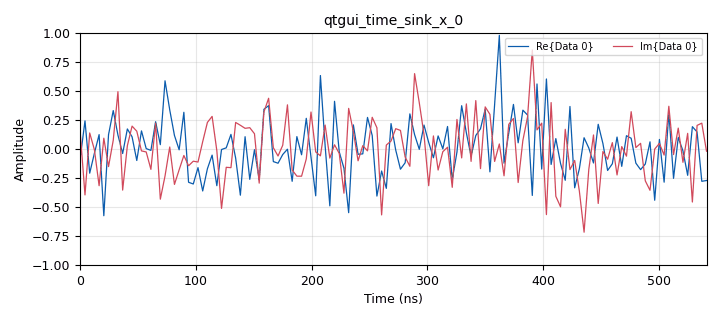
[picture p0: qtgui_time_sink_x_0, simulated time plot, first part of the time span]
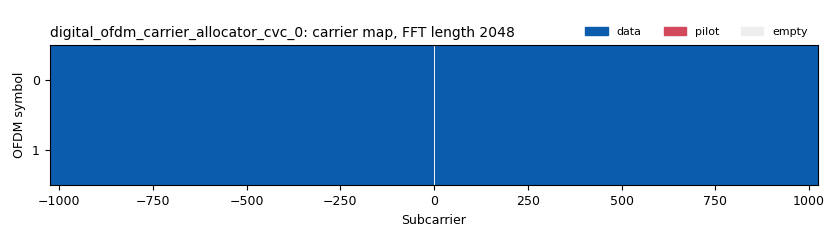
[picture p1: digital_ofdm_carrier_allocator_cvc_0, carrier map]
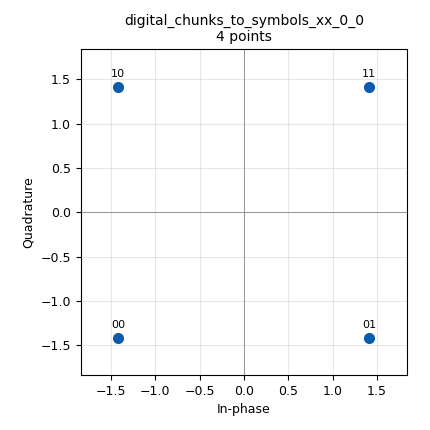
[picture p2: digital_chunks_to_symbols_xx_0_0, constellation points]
options:
  parameters:
    category: Custom
    description: USRP OFDM radar zero-Doppler range profile (full 0~R_max). RX packet_len tags via echotimer; range spectrum via range_profile_plot (PyQtGraph). Stop via GUI (not kill -9) so file_meta segments flush completely.
    generate_options: qt_gui
    hier_block_src_path: .:..
    id: usrp_ofdm_echotimer_dd
    output_language: python
  states: {}

blocks:
- name: fft_len
  id: variable
  parameters:
    value: '2048'
  states: {}
- name: subcarrier_spacing
  id: variable
  parameters:
    value: 120e3
  states: {}
- name: zeropadding_fac
  id: variable
  parameters:
    value: '2'
  states: {}
- name: samp_rate
  id: variable
  parameters:
    value: int(fft_len * subcarrier_spacing)
  states: {}
- name: R_max
  id: variable
  parameters:
    comment: 最大不模糊距离 (m)，R = c/(2·BW)·N_fft
    value: 3e8/2/samp_rate*fft_len
  states: {}
- name: range_bin_step
  id: variable
  parameters:
    comment: 距离谱模轴步进 (m/bin)；GRC 显示 305.176m = 0.305 m
    value: 3e8/(2*int(fft_len*subcarrier_spacing)*zeropadding_fac)
  states: {}
- name: RX_gain
  id: variable_qtgui_range
  parameters:
    label: RX Gain
    start: '0'
    step: '1'
    stop: '50'
    value: '30'
  states: {}
- name: TX_gain
  id: variable_qtgui_range
  parameters:
    label: TX Gain
    start: '0'
    step: '1'
    stop: '50'
    value: '30'
  states: {}
- name: factor
  id: variable_qtgui_range
  parameters:
    start: '0'
    step: '0.001'
    stop: '1'
    value: '0.004'
  states: {}
- name: frame_rate_hz
  id: variable
  parameters:
    comment: CPI range-profile frame rate written into file_meta header
    value: samp_rate / (transpose_len * (fft_len + fft_len // 4))
  states: {}
- name: freq
  id: variable
  parameters:
    comment: 载频 (Hz)；须与 v_max 公式一致，否则速度估计会偏
    value: 6.0e9
  states: {}
- name: length_tag_key
  id: variable
  parameters:
    value: '"packet_len"'
  states: {}
- name: min_out_buf_val
  id: variable
  parameters:
    comment: Must cover one CPI in time samples for SIC chain + CP remover
    value: int(2*transpose_len*(fft_len+fft_len/4))
  states: {}
- name: music_enable
  id: variable_qtgui_check_box
  parameters:
    comment: Enable 1D range MUSIC super-resolution on CPI complex range profile
    'false': 'False'
    gui_hint: 2,4,1,1
    label: MUSIC Enable
    'true': 'True'
    type: bool
    value: 'True'
  states: {}
- name: music_num_sources
  id: variable_qtgui_range
  parameters:
    comment: Number of range targets for 1D MUSIC
    label: MUSIC Num Sources
    start: '1'
    step: '1'
    stop: '5'
    value: '1'
  states: {}
- name: n_carriers
  id: variable
  parameters:
    comment: occupied subcarriers (full band minus DC); matches gr_setup.resolve_gr_carrier_tuples
    value: fft_len - 2
  states: {}
- name: num_delay_samp
  id: variable_qtgui_range
  parameters:
    comment: Recalibrate after fft_len/rate change; align loopback peak to 0 m
    label: Number of delayed samples
    start: '0'
    step: '1'
    stop: packet_len
    value: '278'
  states: {}
- name: occupied_carriers
  id: variable
  parameters:
    value: list((list(range(-n_carriers//2, 0)) + list(range(1, n_carriers//2 + 1)),))
  states: {}
- name: packet_len
  id: variable
  parameters:
    comment: QPSK bytes per burst; derived from CPI symbol count
    value: transpose_len * n_carriers // 4
  states: {}
- name: payload_mod
  id: variable
  parameters:
    value: digital.constellation_qpsk()
  states: {}
- name: qpsk_symbols_per_packet
  id: variable
  parameters:
    comment: QPSK complex symbols per burst after repack_bits
    value: transpose_len * n_carriers
  states: {}
- name: range_roi
  id: variable
  parameters:
    comment: ROI display range (min_m, max_m) for range profile GUI
    value: (0.0, 30.0)
  states: {}
- name: record_enable
  id: variable_qtgui_check_box
  parameters:
    comment: Set True to record linear-power range profiles to disk
    'false': 'False'
    gui_hint: 1,4,1,1
    label: Record Enable
    'true': 'True'
    type: bool
    value: 'False'
  states: {}
- name: record_file_path
  id: variable
  parameters:
    comment: Fixed absolute path shared with range_profile_playback.grc
    value: '"/home/caict/Desktop/isac/gnuradio/tests/data_collection/usrp_ofdm_echotimer_dd_data_collection_test/dataset/run_001/range_profiles"'
  states: {}
- name: record_output_index
  id: variable
  parameters:
    comment: Selector output; 0=file_sink, 1=null_sink
    value: 0 if record_enable else 1
  states: {}
- name: sic_enable
  id: variable_qtgui_check_box
  parameters:
    comment: Enable fixed-FIR self-interference cancellation on RX path
    'false': 'False'
    gui_hint: 1,6,1,1
    label: SIC Enable
    'true': 'True'
    type: bool
    value: 'True'
  states: {}
- name: sic_template_path
  id: variable
  parameters:
    comment: Divide-domain template from estimate_sic_template.py
    value: '"/home/caict/Desktop/isac/gnuradio/tests/data_collection/sic_tap_calibration/dataset/run_001/sic_template.npy"'
  states: {}
- name: sic_template_vlen
  id: variable
  parameters:
    comment: Template length (fft_len * zeropadding_fac)
    value: int(fft_len * zeropadding_fac)
  states: {}
- name: transpose_len
  id: variable
  parameters:
    comment: CPI OFDM symbols per burst; 4 avoids qpsk>8192 sched limit at fft_len=2048
    value: '2'
  states: {}
- name: uhd_dev_args
  id: variable
  parameters:
    comment: 'X410 349B642; QSFP 10.2; external 10MHz+PPS: clock/time=external in args and Echotimer'
    value: '"type=x4xx,serial=349B642,mgmt_addr=192.168.1.100,addr=192.168.10.2,clock_source=external,time_source=external"'
  states: {}
- name: wait_to_start
  id: variable
  parameters:
    value: '0.03'
  states: {}
- name: analog_random_source_x_0
  id: analog_random_source_x
  parameters:
    max: '255'
    min: '0'
    num_samps: packet_len*8
    repeat: 'True'
    type: byte
  states: {}
- name: blocks_complex_to_mag_squared_0
  id: blocks_complex_to_mag_squared
  parameters:
    vlen: fft_len*zeropadding_fac
  states: {}
- name: blocks_file_sink_0
  id: blocks_file_sink
  parameters:
    comment: Record CPI coherently-integrated complex range profiles
    file: record_file_path
    type: complex
    vlen: fft_len*zeropadding_fac
  states: {}
- name: blocks_integrate_xx_0
  id: blocks_integrate_xx
  parameters:
    comment: Non-coherent sum over CPI symbols (decim=transpose_len)
    decim: transpose_len
    type: float
    vlen: fft_len*zeropadding_fac
  states: {}
- name: blocks_integrate_xx_0_cx
  id: blocks_integrate_xx
  parameters:
    comment: Coherent sum over CPI symbols for complex range-profile recording
    decim: transpose_len
    type: complex
    vlen: fft_len*zeropadding_fac
  states: {}
- name: blocks_multiply_const_vxx_0
  id: blocks_multiply_const_vxx
  parameters:
    const: factor
    minoutbuf: int(2*transpose_len*(fft_len+fft_len/4))
    type: complex
  states: {}
- name: blocks_nlog10_ff_0
  id: blocks_nlog10_ff
  parameters:
    k: '0'
    n: '10'
    vlen: fft_len*zeropadding_fac
  states: {}
- name: blocks_null_sink_rec_0
  id: blocks_null_sink
  parameters:
    comment: Discard complex integrate stream when recording disabled
    type: complex
    vlen: fft_len*zeropadding_fac
  states: {}
- name: blocks_repack_bits_bb_0
  id: blocks_repack_bits_bb
  parameters:
    endianness: gr.GR_LSB_FIRST
    k: '8'
    l: payload_mod.bits_per_symbol()
    len_tag_key: length_tag_key
    minoutbuf: 2*qpsk_symbols_per_packet
  states: {}
- name: blocks_selector_0
  id: blocks_selector
  parameters:
    comment: Route coherently-integrated complex range profile to file sink or null sink
    enabled: 'True'
    input_index: '0'
    num_inputs: '1'
    num_outputs: '2'
    output_index: record_output_index
    showports: 'False'
    type: complex
    vlen: fft_len*zeropadding_fac
  states: {}
- name: blocks_stream_to_tagged_stream_0
  id: blocks_stream_to_tagged_stream
  parameters:
    len_tag_key: length_tag_key
    minoutbuf: 2*qpsk_symbols_per_packet
    packet_len: packet_len
    type: byte
  states: {}
- name: blocks_tagged_stream_align_0
  id: blocks_tagged_stream_align
  parameters:
    comment: Buffer full CPI packets for CP remover (>8192 samples at fft_len=2048)
    lengthtagname: length_tag_key
    minoutbuf: min_out_buf_val
    type: complex
  states: {}
- name: digital_chunks_to_symbols_xx_0_0
  id: digital_chunks_to_symbols_xx
  parameters:
    dimension: '1'
    in_type: byte
    minoutbuf: 2*qpsk_symbols_per_packet
    out_type: complex
    symbol_table: payload_mod.points()
  states: {}
- name: digital_ofdm_carrier_allocator_cvc_0
  id: digital_ofdm_carrier_allocator_cvc
  parameters:
    fft_len: fft_len
    len_tag_key: length_tag_key
    minoutbuf: 4*transpose_len
    occupied_carriers: occupied_carriers
    output_is_shifted: 'True'
    pilot_carriers: ((),)
    pilot_symbols: ((),)
    sync_words: ()
  states: {}
- name: digital_ofdm_cyclic_prefixer_0
  id: digital_ofdm_cyclic_prefixer
  parameters:
    cp_len: fft_len//4
    input_size: fft_len
    minoutbuf: int(2*transpose_len*(fft_len+fft_len/4))
    tagname: length_tag_key
  states: {}
- name: fft_vxx_0
  id: fft_vxx
  parameters:
    fft_size: fft_len
    forward: 'False'
    minoutbuf: 2*transpose_len
    shift: 'True'
    type: complex
    window: ()
  states: {}
- name: fft_vxx_0_0
  id: fft_vxx
  parameters:
    fft_size: fft_len
    forward: 'True'
    minoutbuf: 2*transpose_len
    shift: 'True'
    type: complex
    window: ()
  states: {}
- name: fft_vxx_0_1
  id: fft_vxx
  parameters:
    fft_size: fft_len*zeropadding_fac
    forward: 'True'
    shift: 'False'
    type: complex
    window: window.blackmanharris(fft_len*zeropadding_fac)
  states: {}
- name: qtgui_freq_sink_x_0
  id: qtgui_freq_sink_x
  parameters:
    bw: samp_rate
    fc: '0'
    fftsize: fft_len
    type: complex
  states: {}
- name: qtgui_time_sink_x_0
  id: qtgui_time_sink_x
  parameters:
    size: fft_len + fft_len//4
    srate: samp_rate
    type: complex
  states: {}
- name: radar_ofdm_cyclic_prefix_remover_cvc_0
  id: radar_ofdm_cyclic_prefix_remover_cvc
  parameters:
    cp_len: fft_len//4
    fft_len: fft_len
    len_key: '"packet_len"'
    minoutbuf: 2*transpose_len
  states: {}
- name: radar_ofdm_divide_vcvc_0
  id: radar_ofdm_divide_vcvc
  parameters:
    discarded_carriers: ()
    len_key: '"packet_len"'
    minoutbuf: 2*transpose_len
    num_sync_words: '0'
    vlen_in: fft_len
    vlen_out: (fft_len)*zeropadding_fac
  states: {}
- name: radar_usrp_echotimer_cc_0
  id: radar_usrp_echotimer_cc
  parameters:
    antenna_rx: '''RX1'''
    antenna_tx: '''TX/RX'''
    args_rx: uhd_dev_args
    args_tx: uhd_dev_args
    center_freq: freq
    channel_rx: '0'
    channel_tx: '0'
    clock_source_rx: '''external'''
    clock_source_tx: '''external'''
    comment: external 10MHz REF IN + PPS IN; must match device args
    gain_rx: RX_gain
    gain_tx: TX_gain
    minoutbuf: min_out_buf_val
    num_delay_samps: int(num_delay_samp)
    samp_rate: int(samp_rate)
    time_source_rx: '''external'''
    time_source_tx: '''external'''
    timeout_rx: '0.2'
    timeout_tx: '0.2'
    wait_rx: wait_to_start
    wait_tx: wait_to_start
  states: {}
- name: range_music_block_0
  id: epy_block
  parameters:
    _source_code: |
      import sys
      from pathlib import Path
      for _p in [Path.cwd(), *Path.cwd().parents]:
          _src = _p / "src"
          if (_src / "isac_imp").is_dir():
              sys.path.insert(0, str(_src))
              break
      from isac_imp.range_music_block import RangeMusicBlock

      blk = RangeMusicBlock
    comment: 1D range MUSIC on CPI complex range profile; parallel to recording chain
    music_enable: music_enable
    num_sources: int(music_num_sources)
    range_bin_step: range_bin_step
    range_roi: range_roi
    subarray_size: '16'
    threshold: '0.1'
    vlen_in: fft_len*zeropadding_fac
  states: {}
- name: range_profile_plot_0
  id: epy_block
  parameters:
    _source_code: |
      import sys
      from pathlib import Path
      for _p in [Path.cwd(), *Path.cwd().parents]:
          _src = _p / "src"
          if (_src / "isac_imp").is_dir():
              sys.path.insert(0, str(_src))
              break
      from isac_imp.range_profile_plot import RangeProfilePlotBlock

      blk = RangeProfilePlotBlock
    comment: PyQtGraph range profile display (ROI slice + autoscale Y); standalone window
    range_bin_step: range_bin_step
    range_roi: range_roi
    vlen_in: fft_len*zeropadding_fac
  states: {}
- name: sic_divide_subtract_0
  id: epy_block
  parameters:
    _source_code: |
      import sys
      from pathlib import Path
      for _p in [Path.cwd(), *Path.cwd().parents]:
          _src = _p / "src"
          if (_src / "isac_imp").is_dir():
              sys.path.insert(0, str(_src))
              break
      from isac_imp.sic_divide_subtract import SicDivideSubtract

      blk = SicDivideSubtract
    comment: Subtract offline Divide template; out = in - template
    minoutbuf: 2*transpose_len
    sic_enable: sic_enable
    template_path: sic_template_path
    vlen: sic_template_vlen
  states: {}

connections:
- [analog_random_source_x_0, '0', blocks_stream_to_tagged_stream_0, '0']
- [blocks_complex_to_mag_squared_0, '0', blocks_integrate_xx_0, '0']
- [blocks_integrate_xx_0, '0', blocks_nlog10_ff_0, '0']
- [blocks_integrate_xx_0_cx, '0', blocks_selector_0, '0']
- [blocks_integrate_xx_0_cx, '0', range_music_block_0, '0']
- [blocks_multiply_const_vxx_0, '0', qtgui_time_sink_x_0, '0']
- [blocks_multiply_const_vxx_0, '0', radar_usrp_echotimer_cc_0, '0']
- [blocks_nlog10_ff_0, '0', range_profile_plot_0, '0']
- [blocks_repack_bits_bb_0, '0', digital_chunks_to_symbols_xx_0_0, '0']
- [blocks_selector_0, '0', blocks_file_sink_0, '0']
- [blocks_selector_0, '1', blocks_null_sink_rec_0, '0']
- [blocks_stream_to_tagged_stream_0, '0', blocks_repack_bits_bb_0, '0']
- [blocks_tagged_stream_align_0, '0', radar_ofdm_cyclic_prefix_remover_cvc_0, '0']
- [digital_chunks_to_symbols_xx_0_0, '0', digital_ofdm_carrier_allocator_cvc_0, '0']
- [digital_ofdm_carrier_allocator_cvc_0, '0', fft_vxx_0, '0']
- [digital_ofdm_carrier_allocator_cvc_0, '0', radar_ofdm_divide_vcvc_0, '0']
- [digital_ofdm_cyclic_prefixer_0, '0', blocks_multiply_const_vxx_0, '0']
- [fft_vxx_0, '0', digital_ofdm_cyclic_prefixer_0, '0']
- [fft_vxx_0_0, '0', radar_ofdm_divide_vcvc_0, '1']
- [fft_vxx_0_1, '0', blocks_complex_to_mag_squared_0, '0']
- [fft_vxx_0_1, '0', blocks_integrate_xx_0_cx, '0']
- [radar_ofdm_cyclic_prefix_remover_cvc_0, '0', fft_vxx_0_0, '0']
- [radar_ofdm_divide_vcvc_0, '0', sic_divide_subtract_0, '0']
- [radar_usrp_echotimer_cc_0, '0', blocks_tagged_stream_align_0, '0']
- [radar_usrp_echotimer_cc_0, '0', qtgui_freq_sink_x_0, '0']
- [sic_divide_subtract_0, '0', fft_vxx_0_1, '0']

metadata:
  file_format: 1
  grc_version: 3.10.12.0
